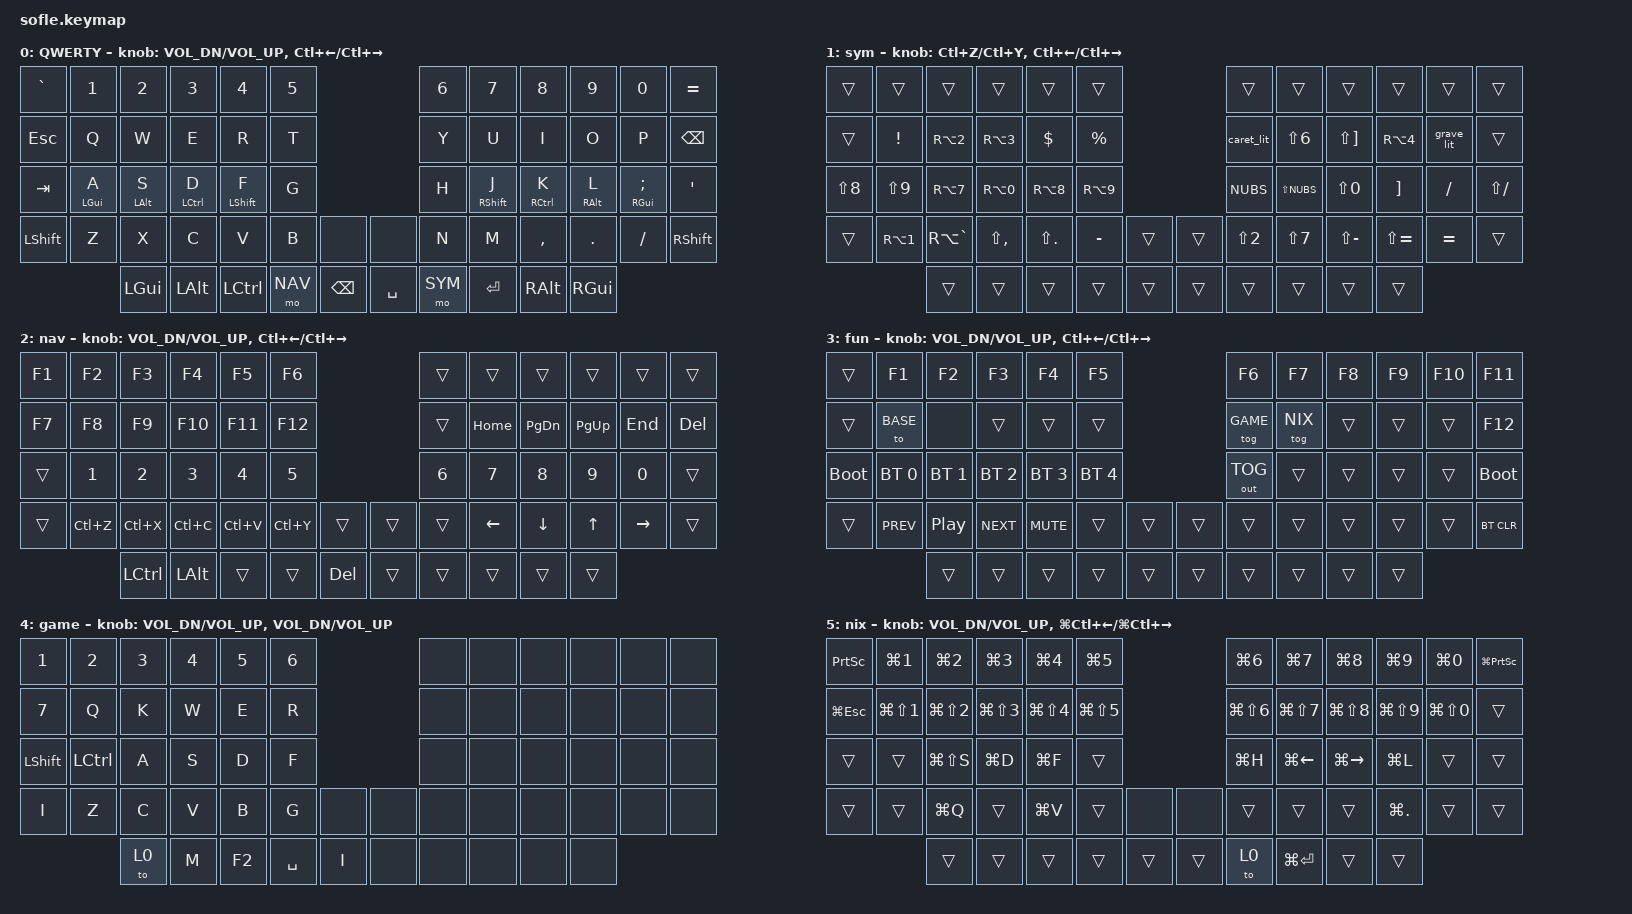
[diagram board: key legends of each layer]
/*
 * Copyright (c) 2020 The ZMK Contributors
 * SPDX-License-Identifier: MIT
 */

#include <behaviors.dtsi>
#include <dt-bindings/zmk/bt.h>
#include <dt-bindings/zmk/keys.h>
#include <dt-bindings/zmk/outputs.h>

// SO con distribución española (xkb "es", nixtopus/Hyprland):
//   SEMI → ñ  |  SQT → ´ (muerta)  |  BSLH → ç  |  NUBS → <  |  FSLH → -
//   MINUS → '  |  EQUAL → ¡  |  LBKT → ` (muerta)  |  RBKT → +
//   AltGr (RA): N1 |  N2 @  N3 #  N4 ~  N7 {  N8 [  N9 ]  N0 }  GRAVE \  E €
//
// Posiciones (Sofle, 60 teclas):
//    0  1  2  3  4  5            6  7  8  9 10 11
//   12 13 14 15 16 17           18 19 20 21 22 23
//   24 25 26 27 28 29           30 31 32 33 34 35
//   36 37 38 39 40 41 42     43 44 45 46 47 48 49
//         50 51 52 53 54     55 56 57 58 59
//
// Capas: BASE(0) · SYM(1, pulgar derecho) · NAV(2, pulgar izquierdo)
//        FUN(3, SYM+NAV a la vez) · GAME(4, toggle FUN+Y) · NIX(5, toggle FUN+U)
// GAME y NIX se salen con su tecla &to 0 (pulgar) o FUN+Q.

#define BASE    0
#define SYM     1
#define NAV     2
#define FUN     3
#define GAME    4
#define NIX     5

// Mano izquierda / derecha + pulgares de ambos lados. Los home-row mods solo
// se activan como modificador si la otra tecla está en la mano contraria o en
// un pulgar (así Ctrl+Bspc, Shift+Space, etc. funcionan con el mismo lado).
#define KEYS_L 0 1 2 3 4 5 12 13 14 15 16 17 24 25 26 27 28 29 36 37 38 39 40 41 42
#define KEYS_R 6 7 8 9 10 11 18 19 20 21 22 23 30 31 32 33 34 35 43 44 45 46 47 48 49
#define THUMBS 50 51 52 53 54 55 56 57 58 59

/ {
    conditional_layers {
        compatible = "zmk,conditional-layers";

        fun_layer {
            if-layers = <SYM NAV>;
            then-layer = <FUN>;
        };
    };

    behaviors {
        hml: hml {
            compatible = "zmk,behavior-hold-tap";
            #binding-cells = <2>;
            tapping-term-ms = <200>;
            quick-tap-ms = <175>;
            require-prior-idle-ms = <150>;
            flavor = "balanced";
            bindings = <&kp>, <&kp>;

            hold-trigger-key-positions = <KEYS_R THUMBS>;
            hold-trigger-on-release;
        };

        hmr: hmr {
            compatible = "zmk,behavior-hold-tap";
            #binding-cells = <2>;
            tapping-term-ms = <200>;
            quick-tap-ms = <175>;
            require-prior-idle-ms = <150>;
            flavor = "balanced";
            bindings = <&kp>, <&kp>;

            hold-trigger-key-positions = <KEYS_L THUMBS>;
            hold-trigger-on-release;
        };
    };

    // ` y ^ son teclas muertas en "es": tecla + espacio = carácter literal.
    macros {
        grave_lit: grave_lit {
            compatible = "zmk,behavior-macro";
            #binding-cells = <0>;
            bindings = <&kp LBKT &kp SPACE>;
        };

        caret_lit: caret_lit {
            compatible = "zmk,behavior-macro";
            #binding-cells = <0>;
            bindings = <&kp LS(LBKT) &kp SPACE>;
        };
    };

    combos {
        compatible = "zmk,combos";

        combo_esc {
            timeout-ms = <50>;
            key-positions = <31 32>;    // J + K
            bindings = <&kp ESC>;
            layers = <BASE>;
        };

        combo_caps {
            timeout-ms = <50>;
            key-positions = <25 34>;    // A + Ñ
            bindings = <&caps_word>;
            layers = <BASE>;
        };
    };

    keymap {
        compatible = "zmk,keymap";

        // BASE: QWERTY + home-row mods (GUI ALT CTRL SHIFT | SHIFT CTRL ALTGR GUI)
        // Encoders: izq volumen · dcha Ctrl+←/→ (palabra)

        base_layer {
            display-name = "QWERTY";
            bindings = <
&kp GRAVE  &kp N1       &kp N2       &kp N3        &kp N4         &kp N5                         &kp N6  &kp N7         &kp N8        &kp N9       &kp N0          &kp EQUAL
&kp ESC    &kp Q        &kp W        &kp E         &kp R          &kp T                          &kp Y   &kp U          &kp I         &kp O        &kp P           &kp BSPC
&kp TAB    &hml LGUI A  &hml LALT S  &hml LCTRL D  &hml LSHIFT F  &kp G                          &kp H   &hmr RSHIFT J  &hmr RCTRL K  &hmr RALT L  &hmr RGUI SEMI  &kp SQT
&kp LSHFT  &kp Z        &kp X        &kp C         &kp V          &kp B   &none       &none      &kp N   &kp M          &kp COMMA     &kp DOT      &kp FSLH        &kp RSHFT
                        &kp LGUI     &kp LALT      &kp LCTRL      &mo NAV &kp BSPC    &kp SPACE  &mo SYM &kp ENTER      &kp RALT      &kp RGUI
            >;

            sensor-bindings =
                <&inc_dec_kp C_VOL_DN C_VOL_UP>,
                <&inc_dec_kp LC(LEFT) LC(RIGHT)>;
        };

        // SYM: mantener pulgar derecho interior (56)
        //   Fila 1:  !  @  #  $  %   |  ^  &  *  ~  `
        //   Home:    (  )  {  }  [  ]  |  <  >  =  +  -  _
        //   Fila 3:  |  \  ;  :  '   |  "  /  ?  ¿  ¡
        // ^ y ` salen literales (macro tecla muerta + espacio).
        // Encoder izq: deshacer/rehacer.

        sym_layer {
            display-name = "sym";
            bindings = <
&trans      &trans      &trans         &trans         &trans       &trans                        &trans      &trans        &trans         &trans      &trans      &trans
&trans      &kp EXCL    &kp RA(N2)     &kp RA(N3)     &kp DLLR     &kp PRCNT                     &caret_lit  &kp LS(N6)    &kp LS(RBKT)   &kp RA(N4)  &grave_lit  &trans
&kp LS(N8)  &kp LS(N9)  &kp RA(N7)     &kp RA(N0)     &kp RA(N8)   &kp RA(N9)                    &kp NUBS    &kp LS(NUBS)  &kp LS(N0)     &kp RBKT    &kp FSLH    &kp LS(FSLH)
&trans      &kp RA(N1)  &kp RA(GRAVE)  &kp LS(COMMA)  &kp LS(DOT)  &kp MINUS   &trans    &trans  &kp LS(N2)  &kp LS(N7)    &kp LS(MINUS)  &kp LS(EQUAL) &kp EQUAL &trans
                        &trans         &trans         &trans       &trans      &trans    &trans  &trans      &trans        &trans         &trans
            >;

            sensor-bindings =
                <&inc_dec_kp LC(Z) LC(Y)>,
                <&inc_dec_kp LC(LEFT) LC(RIGHT)>;
        };

        // NAV: mantener pulgar izquierdo interior (53)
        //   Filas 0-1 izq: F1-F12
        //   Home: números 1-0
        //   Dcha: Inicio AvPág RePág Fin encima de ← ↓ ↑ → (columnas U I O P / M , . -)
        //   Fila 3 izq: deshacer cortar copiar pegar rehacer
        //   Pulgares izq: Ctrl Alt · Supr (Ctrl+Alt+Supr con una mano)

        nav_layer {
            display-name = "nav";
            bindings = <
&kp F1  &kp F2     &kp F3            &kp F4        &kp F5     &kp F6                         &trans  &trans     &trans     &trans     &trans     &trans
&kp F7  &kp F8     &kp F9            &kp F10       &kp F11    &kp F12                        &trans  &kp HOME   &kp PG_DN  &kp PG_UP  &kp END    &kp DEL
&trans  &kp N1     &kp N2            &kp N3        &kp N4     &kp N5                         &kp N6  &kp N7     &kp N8     &kp N9     &kp N0     &trans
&trans  &kp LC(Z)  &kp LC(X)         &kp LC(C)     &kp LC(V)  &kp LC(Y)  &trans     &trans   &trans  &kp LEFT   &kp DOWN   &kp UP     &kp RIGHT  &trans
                   &kp LEFT_CONTROL  &kp LEFT_ALT  &trans     &trans     &kp DEL    &trans   &trans  &trans     &trans     &trans
            >;

            sensor-bindings =
                <&inc_dec_kp C_VOL_DN C_VOL_UP>,
                <&inc_dec_kp LC(LEFT) LC(RIGHT)>;
        };

        // FUN: SYM + NAV a la vez (ambos pulgares interiores)
        //   Fila 0: F1-F11 · F12 en el extremo derecho de la fila 1
        //   Fila 1: Q = volver a BASE · Y = toggle GAME · U = toggle NIX
        //   Home:  BT 0-4 · H = alternar USB/BLE · extremos = bootloader de esa
        //          mitad (sustituye al doble toque de reset para sofle-flash)
        //   Fila 3: ⏮ ⏯ ⏭ silencio · extremo dcha = borrar perfil BT activo

        fun_layer {
            display-name = "fun";
            bindings = <
&trans        &kp F1        &kp F2        &kp F3         &kp F4        &kp F5                          &kp F6        &kp F7     &kp F8  &kp F9  &kp F10  &kp F11
&trans        &to BASE      &none         &trans         &trans        &trans                          &tog GAME     &tog NIX   &trans  &trans  &trans   &kp F12
&bootloader   &bt BT_SEL 0  &bt BT_SEL 1  &bt BT_SEL 2   &bt BT_SEL 3  &bt BT_SEL 4                    &out OUT_TOG  &trans     &trans  &trans  &trans   &bootloader
&trans        &kp C_PREV    &kp C_PP      &kp C_NEXT     &kp C_MUTE    &trans        &trans    &trans  &trans        &trans     &trans  &trans  &trans   &bt BT_CLR
                            &trans        &trans         &trans        &trans        &trans    &trans  &trans        &trans     &trans  &trans
            >;

            sensor-bindings =
                <&inc_dec_kp C_VOL_DN C_VOL_UP>,
                <&inc_dec_kp LC(LEFT) LC(RIGHT)>;
        };

        // GAME: toggle (FUN + Y) — Project Zomboid, solo &kp planos (sin
        // hold-taps: los juegos fallan con teclas de doble función).
        // Todo en la mitad izquierda; la derecha a &none para no disparar
        // BASE en combate. WASD desplazado una columna (D en posición de F).
        //   Fila 0: hotbar 1-6 · Fila 1: 7 Q(gritar) K(fps) W E(interactuar) R(recargar)
        //   Home: Shift(correr) Ctrl(apuntar) A S D F(linterna)
        //   Fila 3: I(inventario) Z(asiento) C(sigilo) V(vehículo) B(fabricar) G(seguridad)
        //   Pulgares: salir a BASE · M(mapa) · F2(pausa) · Espacio(cuerpo a cuerpo) · I
        // Encoders: ambos volumen.

        game_layer {
            display-name = "game";
            bindings = <
&kp N1          &kp N2     &kp N3  &kp N4  &kp N5  &kp N6                     &none  &none  &none  &none  &none  &none
&kp N7          &kp Q      &kp K   &kp W   &kp E   &kp R                      &none  &none  &none  &none  &none  &none
&kp LEFT_SHIFT  &kp LCTRL  &kp A   &kp S   &kp D   &kp F                      &none  &none  &none  &none  &none  &none
&kp I           &kp Z      &kp C   &kp V   &kp B   &kp G      &none    &none  &none  &none  &none  &none  &none  &none
                           &to 0   &kp M   &kp F2  &kp SPACE  &kp I    &none  &none  &none  &none  &none
            >;

            sensor-bindings =
                <&inc_dec_kp C_VOL_DN C_VOL_UP>,
                <&inc_dec_kp C_VOL_DN C_VOL_UP>;
        };

        // NIX: toggle (FUN + U) — atajos de Hyprland (nixtopus) con SUPER
        // incluido, una tecla por acción. Las teclas &trans siguen siendo BASE.
        //   Fila 0: Impr = captura (flameshot gui) · 1-0 = ir a workspace ·
        //           extremo dcha = captura pantalla completa
        //   Fila 1: Esc = wlogout · Q..P = mover ventana a workspace 1-10
        //   Home:  S = captura (Super+Shift+S) · D = rofi · F = fullscreen ·
        //          H = ventana a HDMI · J/K = monitor ←/→ · L = bloquear
        //   Fila 3: X = cerrar ventana · V = flotante · . = ventana a DP-3
        //   Pulgares dcha: salir a BASE · Enter = alacritty
        // Encoder dcha: workspace anterior/siguiente (Super+Ctrl+←/→).

        nix_layer {
            display-name = "nix";
            bindings = <
&kp PRINTSCREEN  &kp LG(N1)      &kp LG(N2)      &kp LG(N3)      &kp LG(N4)      &kp LG(N5)                        &kp LG(N6)      &kp LG(N7)      &kp LG(N8)      &kp LG(N9)      &kp LG(N0)      &kp LG(PRINTSCREEN)
&kp LG(ESC)      &kp LG(LS(N1))  &kp LG(LS(N2))  &kp LG(LS(N3))  &kp LG(LS(N4))  &kp LG(LS(N5))                    &kp LG(LS(N6))  &kp LG(LS(N7))  &kp LG(LS(N8))  &kp LG(LS(N9))  &kp LG(LS(N0))  &trans
&trans           &trans          &kp LG(LS(S))   &kp LG(D)       &kp LG(F)       &trans                            &kp LG(H)       &kp LG(LEFT)    &kp LG(RIGHT)   &kp LG(L)       &trans          &trans
&trans           &trans          &kp LG(Q)       &trans          &kp LG(V)       &trans          &none     &none   &trans          &trans          &trans          &kp LG(DOT)     &trans          &trans
                                 &trans          &trans          &trans          &trans          &trans    &trans  &to 0           &kp LG(RETURN)  &trans          &trans
            >;

            sensor-bindings =
                <&inc_dec_kp C_VOL_DN C_VOL_UP>,
                <&inc_dec_kp LG(LC(LEFT)) LG(LC(RIGHT))>;
        };
    };
};
